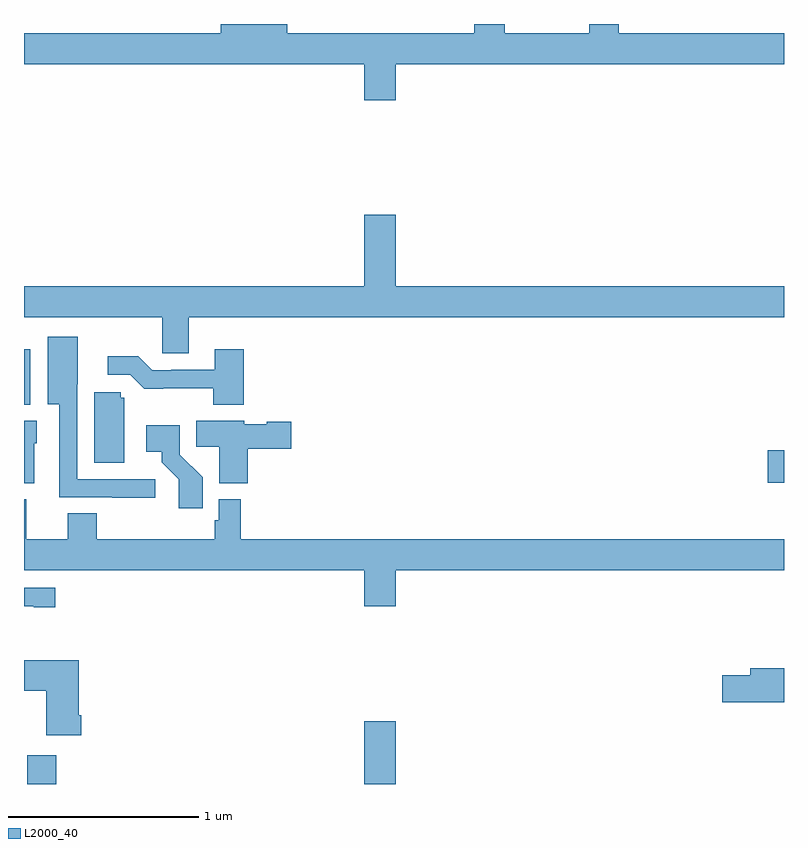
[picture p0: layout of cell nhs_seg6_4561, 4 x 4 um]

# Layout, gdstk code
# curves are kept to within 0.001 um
import gdstk
lib = gdstk.Library(unit=1e-6, precision=1e-09)
def R(c, l, rs):  # rectangles x0, y0, x1, y1
    for r in rs: c.add(gdstk.rectangle(r[:2], r[2:], *l))
def P(c, l, *ps):  # polygons
    for p in ps: c.add(gdstk.Polygon(p, *l))
L2000_40 = (2000, 40)

nhs_seg6_4561 = lib.new_cell('nhs_seg6_4561')
R(nhs_seg6_4561, L2000_40, [(379.016,991.5,379.169,991.651), (380.792,991.5,380.956,991.831), (382.914,993.086,383,993.257), (379,993.497,379.033,993.787)])
P(nhs_seg6_4561, L2000_40, [(380.956,995.288),(383,995.288),(383,995.452),(382.131,995.452),(382.131,995.5),(381.976,995.5),(381.976,995.452),(381.531,995.452),(381.531,995.5),(381.371,995.5),(381.371,995.452),(380.386,995.452),(380.386,995.5),(380.036,995.5),(380.036,995.452),(379,995.452),(379,995.288),(380.792,995.288),(380.792,995.1),(380.956,995.1)],
  [(379.867,993.956),(383,993.956),(383,994.12),(380.956,994.12),(380.956,994.495),(380.792,994.495),(380.792,994.12),(379,994.12),(379,993.956),(379.728,993.956),(379.728,993.766),(379.867,993.766)],
  [(379.69,993.105),(379.281,993.105),(379.281,993.604),(379.282,993.604),(379.282,993.853),(379.124,993.853),(379.124,993.5),(379.185,993.5),(379.185,993.009),(379.465,993.009),(379.465,993.007),(379.69,993.007)],
  [(380.156,993.787),(380.003,993.787),(380.003,993.681),(379.774,993.681),(379.774,993.678),(379.674,993.678),(379.601,993.751),(379.44,993.751),(379.44,993.654),(379.56,993.654),(379.633,993.581),(379.996,993.582),(379.996,993.497),(380.156,993.497)],
  [(379.528,993.534),(379.509,993.534),(379.509,993.561),(379.37,993.561),(379.37,993.19),(379.528,993.19)],
  [(380.177,993.265),(380.407,993.265),(380.407,993.407),(380.277,993.407),(380.277,993.394),(380.16,993.394),(380.16,993.412),(379.906,993.412),(379.906,993.274),(380.027,993.274),(380.027,993.083),(380.177,993.083)],
  [(379.054,993.294),(379.066,993.294),(379.066,993.412),(379,993.412),(379,993.083),(379.054,993.083)],
  [(379.94,993.114),(379.821,993.233),(379.821,993.388),(379.644,993.388),(379.644,993.248),(379.724,993.248),(379.724,993.193),(379.815,993.103),(379.815,992.952),(379.94,992.952)],
  [(380.956,992.624),(383,992.624),(383,992.788),(380.141,992.788),(380.141,992.998),(380.025,992.998),(380.025,992.889),(380.005,992.889),(380.005,992.788),(379.382,992.788),(379.382,992.924),(379.229,992.924),(379.229,992.788),(379.012,992.788),(379.012,992.998),(379,992.998),(379,992.624),(380.792,992.624),(380.792,992.436),(380.956,992.436)],
  [(379.165,992.532),(379,992.532),(379,992.436),(379.052,992.436),(379.052,992.431),(379.165,992.431)],
  [(379.301,991.861),(379.288,991.861),(379.288,992.152),(379,992.152),(379,991.99),(379.118,991.99),(379.118,991.757),(379.301,991.757)],
  [(383,992.108),(382.823,992.108),(382.823,992.072),(382.674,992.072),(382.674,991.93),(383,991.93)])

lib.write_gds('nhs_seg6_4561.gds')
